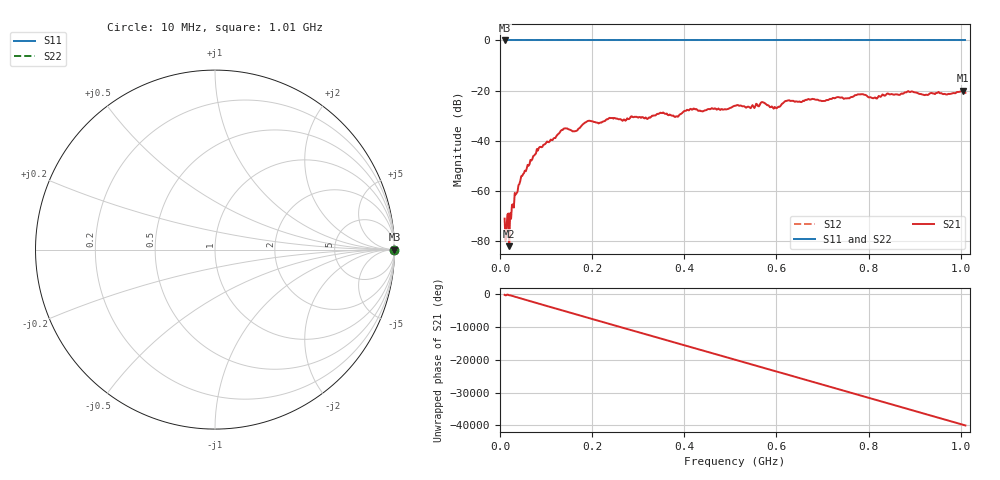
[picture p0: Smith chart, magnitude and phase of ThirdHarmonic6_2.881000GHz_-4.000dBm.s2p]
! 8/17/2025 7:54:07 AM
! C:\ANRITSUVNA\TEMP\TEMP.S2P
! CHANNEL.1
! TR.MEASUREMENT
! RAW.DATA
! RF.CORRECTION.OFF
! AVERAGING.OFF
! IF.BANDWIDTH: 5KHZ
! SWEEPTYPE:  FREQ.SWEEP(Linear)
! Reference Plane Port Info
! PORT:  PORT1  PORT2
! DISTANCE:  0  m  0  m
! TIME:  0  s  0  s
! PHASE.OFFSET:  0  deg.  0  deg.
! LOSS:  0  dB  0  dB
! REF.LOSS:  0  dB  0  dB
! REF.FREQ:  0  Hz  0  Hz
! Power Info
! POWER:  -20  dBm  -20  dBm
! EFF.POWER:  -20  dBm  -20  dBm
! SOURCE.ATTEN:  0  dB  0  dB
! TEST.ATTEN:  0  dB  0  dB
# GHZ S RI R 50.0
! FREQ.GHZ  S11RE  S11IM  S21RE  S21IM  S12RE  S12IM  S22RE  S22IM
!; PortSelection: Port_12
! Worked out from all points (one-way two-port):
!   501 points, 10 MHz to 1.01 GHz, reference 50 ohm
!   highest |S21| = -20.00 dB at 1.004 GHz (marker M1); lowest = -81.9 dB at 20 MHz (marker M2)
!   lowest |S11| = 0.0 dB at 10 MHz (marker M3)
!   |S11| at or under -10 dB: nowhere
!   |S22| runs from 0.0 to 0.0 dB; largest |S21 - S12| = 1.1
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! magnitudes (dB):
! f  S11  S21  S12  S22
! 10 MHz  0.0  -70.9  0.0  0.0
! 14 MHz  0.0  -75.7  0.0  0.0
! 16 MHz  0.0  -69.4  0.0  0.0
! 20 MHz  0.0  -81.9  0.0  0.0
! 44 MHz  0.0  -56.0  0.0  0.0
! 84 MHz  0.0  -42.9  0.0  0.0
! 138 MHz  0.0  -35.1  0.0  0.0
! 162 MHz  0.0  -36.2  0.0  0.0
! 178 MHz  0.0  -33.7  0.0  0.0
! 192 MHz  0.0  -32.0  0.0  0.0
! 322 MHz  0.0  -30.9  0.0  0.0
! 344 MHz  0.0  -29.3  0.0  0.0
! 382 MHz  0.0  -30.2  0.0  0.0
! 416 MHz  0.0  -27.5  0.0  0.0
! 510 MHz  0.0  -26.0  0.0  0.0
! 570 MHz  0.0  -24.6  0.0  0.0
! 598 MHz  0.0  -26.7  0.0  0.0
! 624 MHz  0.0  -23.9  0.0  0.0
! 678 MHz  0.0  -23.3  0.0  0.0
! 844 MHz  0.0  -21.4  0.0  0.0
! 1.004 GHz  0.0  -20.0  0.0  0.0
! 1.01 GHz  0.0  -20.8  0.0  0.0
